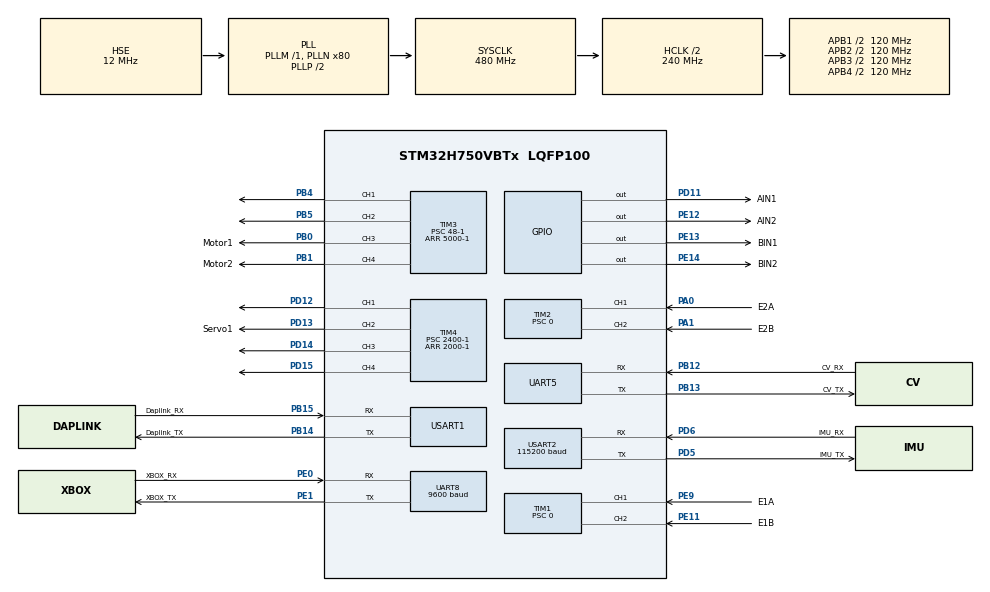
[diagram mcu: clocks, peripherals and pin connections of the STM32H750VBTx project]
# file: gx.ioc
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CORTEX_M7.default_mode_Activation=1
Dma.Request0=UART8_RX
Dma.Request1=USART1_RX
Dma.Request2=UART5_RX
Dma.Request3=USART2_RX
Dma.UART5_RX.2.Direction=DMA_PERIPH_TO_MEMORY
Dma.UART5_RX.2.EventEnable=DISABLE
Dma.UART5_RX.2.FIFOMode=DMA_FIFOMODE_DISABLE
Dma.UART5_RX.2.Instance=DMA1_Stream3
Dma.UART5_RX.2.MemDataAlignment=DMA_MDATAALIGN_BYTE
Dma.UART5_RX.2.MemInc=DMA_MINC_ENABLE
Dma.UART5_RX.2.Mode=DMA_NORMAL
Dma.UART5_RX.2.PeriphDataAlignment=DMA_PDATAALIGN_BYTE
Dma.UART5_RX.2.PeriphInc=DMA_PINC_DISABLE
Dma.UART5_RX.2.Polarity=HAL_DMAMUX_REQ_GEN_RISING
Dma.UART5_RX.2.Priority=DMA_PRIORITY_LOW
Dma.UART5_RX.2.RequestNumber=1
Dma.UART5_RX.2.SignalID=NONE
Dma.UART5_RX.2.SyncEnable=DISABLE
Dma.UART5_RX.2.SyncPolarity=HAL_DMAMUX_SYNC_NO_EVENT
Dma.UART5_RX.2.SyncRequestNumber=1
Dma.UART5_RX.2.SyncSignalID=NONE
Dma.UART8_RX.0.Direction=DMA_PERIPH_TO_MEMORY
Dma.UART8_RX.0.EventEnable=DISABLE
Dma.UART8_RX.0.FIFOMode=DMA_FIFOMODE_DISABLE
Dma.UART8_RX.0.Instance=DMA1_Stream0
Dma.UART8_RX.0.MemDataAlignment=DMA_MDATAALIGN_BYTE
Dma.UART8_RX.0.MemInc=DMA_MINC_ENABLE
Dma.UART8_RX.0.Mode=DMA_NORMAL
Dma.UART8_RX.0.PeriphDataAlignment=DMA_PDATAALIGN_BYTE
Dma.UART8_RX.0.PeriphInc=DMA_PINC_DISABLE
Dma.UART8_RX.0.Polarity=HAL_DMAMUX_REQ_GEN_RISING
Dma.UART8_RX.0.Priority=DMA_PRIORITY_LOW
Dma.UART8_RX.0.RequestNumber=1
Dma.UART8_RX.0.SignalID=NONE
Dma.UART8_RX.0.SyncEnable=DISABLE
Dma.UART8_RX.0.SyncPolarity=HAL_DMAMUX_SYNC_NO_EVENT
Dma.UART8_RX.0.SyncRequestNumber=1
Dma.UART8_RX.0.SyncSignalID=NONE
Dma.USART1_RX.1.Direction=DMA_PERIPH_TO_MEMORY
Dma.USART1_RX.1.EventEnable=DISABLE
Dma.USART1_RX.1.FIFOMode=DMA_FIFOMODE_DISABLE
Dma.USART1_RX.1.Instance=DMA1_Stream1
Dma.USART1_RX.1.MemDataAlignment=DMA_MDATAALIGN_BYTE
Dma.USART1_RX.1.MemInc=DMA_MINC_ENABLE
Dma.USART1_RX.1.Mode=DMA_NORMAL
Dma.USART1_RX.1.PeriphDataAlignment=DMA_PDATAALIGN_BYTE
Dma.USART1_RX.1.PeriphInc=DMA_PINC_DISABLE
Dma.USART1_RX.1.Polarity=HAL_DMAMUX_REQ_GEN_RISING
Dma.USART1_RX.1.Priority=DMA_PRIORITY_LOW
Dma.USART1_RX.1.RequestNumber=1
Dma.USART1_RX.1.SignalID=NONE
Dma.USART1_RX.1.SyncEnable=DISABLE
Dma.USART1_RX.1.SyncPolarity=HAL_DMAMUX_SYNC_NO_EVENT
Dma.USART1_RX.1.SyncRequestNumber=1
Dma.USART1_RX.1.SyncSignalID=NONE
Dma.USART2_RX.3.Direction=DMA_PERIPH_TO_MEMORY
Dma.USART2_RX.3.EventEnable=DISABLE
Dma.USART2_RX.3.FIFOMode=DMA_FIFOMODE_DISABLE
Dma.USART2_RX.3.Instance=DMA1_Stream2
Dma.USART2_RX.3.MemDataAlignment=DMA_MDATAALIGN_BYTE
Dma.USART2_RX.3.MemInc=DMA_MINC_ENABLE
Dma.USART2_RX.3.Mode=DMA_NORMAL
Dma.USART2_RX.3.PeriphDataAlignment=DMA_PDATAALIGN_BYTE
Dma.USART2_RX.3.PeriphInc=DMA_PINC_DISABLE
Dma.USART2_RX.3.Polarity=HAL_DMAMUX_REQ_GEN_RISING
Dma.USART2_RX.3.Priority=DMA_PRIORITY_HIGH
Dma.USART2_RX.3.RequestNumber=1
Dma.USART2_RX.3.SignalID=NONE
Dma.USART2_RX.3.SyncEnable=DISABLE
Dma.USART2_RX.3.SyncPolarity=HAL_DMAMUX_SYNC_NO_EVENT
Dma.USART2_RX.3.SyncRequestNumber=1
Dma.USART2_RX.3.SyncSignalID=NONE
Mcu.Family=STM32H7
Mcu.Name=STM32H750VBTx
Mcu.Package=LQFP100
NVIC.DMA1_Stream0_IRQn=true\:1\:0\:true\:false\:true\:false\:true\:true
NVIC.DMA1_Stream1_IRQn=true\:0\:0\:true\:false\:true\:false\:true\:true
NVIC.DMA1_Stream2_IRQn=true\:0\:0\:true\:false\:true\:false\:true\:true
NVIC.DMA1_Stream3_IRQn=true\:0\:0\:true\:false\:true\:false\:true\:true
NVIC.PriorityGroup=NVIC_PRIORITYGROUP_4
NVIC.TIM17_IRQn=true\:3\:0\:true\:false\:true\:true\:true\:true
NVIC.TIM5_IRQn=true\:1\:0\:true\:false\:true\:false\:true\:true
NVIC.TimeBase=TIM5_IRQn
NVIC.TimeBaseIP=TIM5
NVIC.USART1_IRQn=true\:4\:0\:true\:false\:true\:true\:true\:true
NVIC.USART2_IRQn=true\:2\:0\:true\:false\:true\:true\:true\:true
PA0.GPIO_Label=E2A
PA0.Signal=S_TIM2_CH1_ETR
PA1.GPIO_Label=E2B
PA1.Signal=S_TIM2_CH2
PA13\ (JTMS/SWDIO).Mode=Serial_Wire
PA13\ (JTMS/SWDIO).Signal=DEBUG_JTMS-SWDIO
PA14\ (JTCK/SWCLK).Mode=Serial_Wire
PA14\ (JTCK/SWCLK).Signal=DEBUG_JTCK-SWCLK
PB0.GPIO_Label=Motor1
PB0.Signal=S_TIM3_CH3
PB1.GPIO_Label=Motor2
PB1.Signal=S_TIM3_CH4
PB12.GPIO_Label=CV_RX
PB12.GPIO_PuPd=GPIO_PULLUP
PB12.Mode=Asynchronous
PB12.Signal=UART5_RX
PB13.GPIO_Label=CV_TX
PB13.Mode=Asynchronous
PB13.Signal=UART5_TX
PB14.GPIO_Label=Daplink_TX
PB14.Mode=Asynchronous
PB14.Signal=USART1_TX
PB15.GPIO_Label=Daplink_RX
PB15.Mode=Asynchronous
PB15.Signal=USART1_RX
PB4\ (NJTRST).Signal=S_TIM3_CH1
PB5.Signal=S_TIM3_CH2
PD11.GPIO_Label=AIN1
PD11.GPIO_PuPd=GPIO_PULLUP
PD11.PinState=GPIO_PIN_RESET
PD11.Signal=GPIO_Output
PD12.Signal=S_TIM4_CH1
PD13.GPIO_Label=Servo1
PD13.Signal=S_TIM4_CH2
PD14.Signal=S_TIM4_CH3
PD15.Signal=S_TIM4_CH4
PD5.GPIO_Label=IMU_TX
PD5.Mode=Asynchronous
PD5.Signal=USART2_TX
PD6.GPIO_Label=IMU_RX
PD6.Mode=Asynchronous
PD6.Signal=USART2_RX
PE0.GPIO_Label=XBOX_RX
PE0.GPIO_PuPd=GPIO_PULLUP
PE0.Mode=Asynchronous
PE0.Signal=UART8_RX
PE1.GPIO_Label=XBOX_TX
PE1.Mode=Asynchronous
PE1.Signal=UART8_TX
PE11.GPIO_Label=E1B
PE11.GPIO_PuPd=GPIO_NOPULL
PE11.Signal=S_TIM1_CH2
PE12.GPIO_Label=AIN2
PE12.GPIO_PuPd=GPIO_PULLUP
PE12.Signal=GPIO_Output
PE13.GPIO_Label=BIN1
PE13.GPIO_PuPd=GPIO_PULLUP
PE13.Signal=GPIO_Output
PE14.GPIO_Label=BIN2
PE14.GPIO_PuPd=GPIO_PULLUP
PE14.Signal=GPIO_Output
PE9.GPIO_Label=E1A
PE9.Signal=S_TIM1_CH1
PH0-OSC_IN\ (PH0).Mode=HSE-External-Oscillator
PH0-OSC_IN\ (PH0).Signal=RCC_OSC_IN
PH1-OSC_OUT\ (PH1).Mode=HSE-External-Oscillator
PH1-OSC_OUT\ (PH1).Signal=RCC_OSC_OUT
ProjectManager.HeapSize=0x200
ProjectManager.StackSize=0x400
ProjectManager.TargetToolchain=MDK-ARM V5.32
RCC.ADCFreq_Value=24187500
RCC.APB1Freq_Value=120000000
RCC.APB2Freq_Value=120000000
RCC.APB3Freq_Value=120000000
RCC.APB4Freq_Value=120000000
RCC.CortexFreq_Value=480000000
RCC.D1PPRE=RCC_APB3_DIV2
RCC.D2PPRE1=RCC_APB1_DIV2
RCC.D2PPRE2=RCC_APB2_DIV2
RCC.D3PPRE=RCC_APB4_DIV2
RCC.DIVM1=1
RCC.DIVN1=80
RCC.HCLKFreq_Value=240000000
RCC.HPRE=RCC_HCLK_DIV2
RCC.HSE_VALUE=12000000
RCC.PLL2FRACN=0
RCC.PLL3FRACN=0
RCC.PLLFRACN=0
RCC.PLLSourceVirtual=RCC_PLLSOURCE_HSE
RCC.SYSCLKFreq_VALUE=480000000
RCC.SYSCLKSource=RCC_SYSCLKSOURCE_PLLCLK
RCC.USBFreq_Value=480000000
SH.S_TIM1_CH1.0=TIM1_CH1,Encoder_Interface
SH.S_TIM1_CH2.0=TIM1_CH2,Encoder_Interface
SH.S_TIM2_CH1_ETR.0=TIM2_CH1,Encoder_Interface
SH.S_TIM2_CH2.0=TIM2_CH2,Encoder_Interface
SH.S_TIM3_CH1.0=TIM3_CH1,PWM Generation1 CH1
SH.S_TIM3_CH2.0=TIM3_CH2,PWM Generation2 CH2
SH.S_TIM3_CH3.0=TIM3_CH3,PWM Generation3 CH3
SH.S_TIM3_CH4.0=TIM3_CH4,PWM Generation4 CH4
SH.S_TIM4_CH1.0=TIM4_CH1,PWM Generation1 CH1
SH.S_TIM4_CH2.0=TIM4_CH2,PWM Generation2 CH2
SH.S_TIM4_CH3.0=TIM4_CH3,PWM Generation3 CH3
SH.S_TIM4_CH4.0=TIM4_CH4,PWM Generation4 CH4
TIM1.EncoderMode=TIM_ENCODERMODE_TI12
TIM1.IC1Filter=10
TIM1.IC2Filter=10
TIM1.Period=65535
TIM1.Prescaler=0
TIM16.Period=100-1
TIM16.Prescaler=2400-1
TIM17.Period=500-1
TIM17.Prescaler=2400-1
TIM2.EncoderMode=TIM_ENCODERMODE_TI12
TIM2.IC1Filter=10
TIM2.IC2Filter=10
TIM2.Period=4294967295
TIM2.Prescaler=0
TIM3.Channel-PWM\ Generation1\ CH1=TIM_CHANNEL_1
TIM3.Channel-PWM\ Generation2\ CH2=TIM_CHANNEL_2
TIM3.Channel-PWM\ Generation3\ CH3=TIM_CHANNEL_3
TIM3.Channel-PWM\ Generation4\ CH4=TIM_CHANNEL_4
TIM3.Period=5000-1
TIM3.Prescaler=48-1
TIM4.Channel-PWM\ Generation1\ CH1=TIM_CHANNEL_1
TIM4.Channel-PWM\ Generation2\ CH2=TIM_CHANNEL_2
TIM4.Channel-PWM\ Generation3\ CH3=TIM_CHANNEL_3
TIM4.Channel-PWM\ Generation4\ CH4=TIM_CHANNEL_4
TIM4.Period=2000-1
TIM4.Prescaler=2400-1
UART8.BaudRate=9600
UART8.FIFOMode=FIFOMODE_DISABLE
USART1.VirtualMode-Asynchronous=VM_ASYNC
USART2.BaudRate=115200
USART2.VirtualMode-Asynchronous=VM_ASYNC
VP_MEMORYMAP_VS_MEMORYMAP.Mode=CurAppReg
VP_SYS_VS_tim5.Mode=TIM5
VP_TIM16_VS_ClockSourceINT.Mode=Enable_Timer
VP_TIM17_VS_ClockSourceINT.Mode=Enable_Timer
VP_TIM3_VS_ClockSourceINT.Mode=Internal
VP_TIM4_VS_ClockSourceINT.Mode=Internal
board=custom

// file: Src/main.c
/* USER CODE BEGIN Header */
/**
  ******************************************************************************
  * @file           : main.c
  * @brief          : Main program body
  ******************************************************************************
  * @attention
  *
  * Copyright (c) 2024 STMicroelectronics.
  * All rights reserved.
  *
  * This software is licensed under terms that can be found in the LICENSE file
  * in the root directory of this software component.
  * If no LICENSE file comes with this software, it is provided AS-IS.
  *
  ******************************************************************************
  */
/* USER CODE END Header */
#include "main.h"
#include "dma.h"
#include "memorymap.h"
#include "tim.h"
#include "usart.h"
#include "gpio.h"

/* USER CODE BEGIN Includes */
#include "Rescue_Car.h"
#include "control.h"
#include "Delay.h"
#include "encoder.h"
#include "jy901s.h"
#include "usart.h"

//#include "retarget.h"
//#include "filter.h"
//#include "Algorithm.h"
//#include "pid.h"
//#include <stdio.h>
//#include <string.h>
//#include "Xbox.h"
//#include "delay.h"

/* USER CODE END Includes */

/* USER CODE BEGIN PV */
char command1[] = {0xFF, 0XAA, 0X69, 0X88, 0XB5};
char command2[] = {0xFF, 0xAA, 0x01, 0x01, 0x00};
char command3[] = {0xFF, 0xAA, 0x01, 0x00, 0x00};
char command4[] = {0xFF, 0xAA, 0x00, 0x00, 0x00};
// controller PV

xUART_TypeDef xUART8 = {0};  // 串口8;
//

/* USER CODE END PV */

void SystemClock_Config(void);
static void MPU_Config(void);

int main(void)
{

  /* MPU Configuration--------------------------------------------------------*/
  MPU_Config();

  /* MCU Configuration--------------------------------------------------------*/

  /* Reset of all peripherals, Initializes the Flash interface and the Systick. */
  HAL_Init();

  /* Configure the system clock */
  SystemClock_Config();

  /* Initialize all configured peripherals */
  MX_GPIO_Init();
  MX_DMA_Init();
  MX_TIM1_Init();
  MX_TIM3_Init();
  MX_USART1_UART_Init();
  MX_TIM17_Init();
  MX_TIM2_Init();
  MX_TIM4_Init();
  MX_UART8_Init();
  MX_UART5_Init();
  MX_TIM16_Init();
  MX_USART2_UART_Init();
  /* USER CODE BEGIN 2 */
    HAL_UARTEx_ReceiveToIdle_DMA(&huart2, (uint8_t*) imu_buffer, 44);
    HAL_TIM_PWM_Start(&htim3, TIM_CHANNEL_3);
    HAL_TIM_PWM_Start(&htim3, TIM_CHANNEL_4);
    HAL_TIM_Encoder_Start(&htim1, TIM_CHANNEL_ALL);
    HAL_TIM_Encoder_Start(&htim2, TIM_CHANNEL_ALL);
    HAL_UARTEx_ReceiveToIdle_DMA(&huart8, xUART8.BuffTemp, sizeof(xUART8.BuffTemp));
    __HAL_UART_ENABLE_IT(&huart1, UART_IT_IDLE);
    HAL_UART_Receive_IT(&huart1, (uint8_t*)debugrxdata, 30);
    __HAL_UART_CLEAR_IDLEFLAG(&huart1);
//    HAL_UART_Transmit(&huart2, (uint8_t*)command1, 5, 0xfff);
//    HAL_Delay(200);
//    HAL_UART_Transmit(&huart2, (uint8_t*)command2, 5, 0xfff);
//    HAL_Delay(4000);
//    HAL_UART_Transmit(&huart2, (uint8_t*)command3, 5, 0xfff);
//    HAL_Delay(100);
//    HAL_UART_Transmit(&huart2, (uint8_t*)command4, 5, 0xfff);
	Rescue_Car_Init();

  /* USER CODE END 2 */

  /* Infinite loop */
  /* USER CODE BEGIN WHILE */
  while (1)
  {

//      // ********************************************************************************************

    /* USER CODE END WHILE */

  }
}

void SystemClock_Config(void)
{
  RCC_OscInitTypeDef RCC_OscInitStruct = {0};
  RCC_ClkInitTypeDef RCC_ClkInitStruct = {0};

  /** Supply configuration update enable
  */
  HAL_PWREx_ConfigSupply(PWR_LDO_SUPPLY);

  /** Configure the main internal regulator output voltage
  */
  __HAL_PWR_VOLTAGESCALING_CONFIG(PWR_REGULATOR_VOLTAGE_SCALE0);

  while(!__HAL_PWR_GET_FLAG(PWR_FLAG_VOSRDY)) {}

  /** Initializes the RCC Oscillators according to the specified parameters
  * in the RCC_OscInitTypeDef structure.
  */
  RCC_OscInitStruct.OscillatorType = RCC_OSCILLATORTYPE_HSE;
  RCC_OscInitStruct.HSEState = RCC_HSE_ON;
  RCC_OscInitStruct.PLL.PLLState = RCC_PLL_ON;
  RCC_OscInitStruct.PLL.PLLSource = RCC_PLLSOURCE_HSE;
  RCC_OscInitStruct.PLL.PLLM = 1;
  RCC_OscInitStruct.PLL.PLLN = 80;
  RCC_OscInitStruct.PLL.PLLP = 2;
  RCC_OscInitStruct.PLL.PLLQ = 2;
  RCC_OscInitStruct.PLL.PLLR = 2;
  RCC_OscInitStruct.PLL.PLLRGE = RCC_PLL1VCIRANGE_3;
  RCC_OscInitStruct.PLL.PLLVCOSEL = RCC_PLL1VCOWIDE;
  RCC_OscInitStruct.PLL.PLLFRACN = 0;
  if (HAL_RCC_OscConfig(&RCC_OscInitStruct) != HAL_OK)
  {
    Error_Handler();
  }

  /** Initializes the CPU, AHB and APB buses clocks
  */
  RCC_ClkInitStruct.ClockType = RCC_CLOCKTYPE_HCLK|RCC_CLOCKTYPE_SYSCLK
                              |RCC_CLOCKTYPE_PCLK1|RCC_CLOCKTYPE_PCLK2
                              |RCC_CLOCKTYPE_D3PCLK1|RCC_CLOCKTYPE_D1PCLK1;
  RCC_ClkInitStruct.SYSCLKSource = RCC_SYSCLKSOURCE_PLLCLK;
  RCC_ClkInitStruct.SYSCLKDivider = RCC_SYSCLK_DIV1;
  RCC_ClkInitStruct.AHBCLKDivider = RCC_HCLK_DIV2;
  RCC_ClkInitStruct.APB3CLKDivider = RCC_APB3_DIV2;
  RCC_ClkInitStruct.APB1CLKDivider = RCC_APB1_DIV2;
  RCC_ClkInitStruct.APB2CLKDivider = RCC_APB2_DIV2;
  RCC_ClkInitStruct.APB4CLKDivider = RCC_APB4_DIV2;

  if (HAL_RCC_ClockConfig(&RCC_ClkInitStruct, FLASH_LATENCY_4) != HAL_OK)
  {
    Error_Handler();
  }
}

 /* MPU Configuration */

void MPU_Config(void)
{
  MPU_Region_InitTypeDef MPU_InitStruct = {0};

  /* Disables the MPU */
  HAL_MPU_Disable();

  /** Initializes and configures the Region and the memory to be protected
  */
  MPU_InitStruct.Enable = MPU_REGION_ENABLE;
  MPU_InitStruct.Number = MPU_REGION_NUMBER0;
  MPU_InitStruct.BaseAddress = 0x0;
  MPU_InitStruct.Size = MPU_REGION_SIZE_4GB;
  MPU_InitStruct.SubRegionDisable = 0x87;
  MPU_InitStruct.TypeExtField = MPU_TEX_LEVEL0;
  MPU_InitStruct.AccessPermission = MPU_REGION_NO_ACCESS;
  MPU_InitStruct.DisableExec = MPU_INSTRUCTION_ACCESS_DISABLE;
  MPU_InitStruct.IsShareable = MPU_ACCESS_SHAREABLE;
  MPU_InitStruct.IsCacheable = MPU_ACCESS_NOT_CACHEABLE;
  MPU_InitStruct.IsBufferable = MPU_ACCESS_NOT_BUFFERABLE;

  HAL_MPU_ConfigRegion(&MPU_InitStruct);
  /* Enables the MPU */
  HAL_MPU_Enable(MPU_PRIVILEGED_DEFAULT);

}

void HAL_TIM_PeriodElapsedCallback(TIM_HandleTypeDef *htim)
{
  if (htim->Instance == TIM5)
  {
    HAL_IncTick();
  }
}

void Error_Handler(void)
{
  __disable_irq();
  while (1)
  {
  }
}
